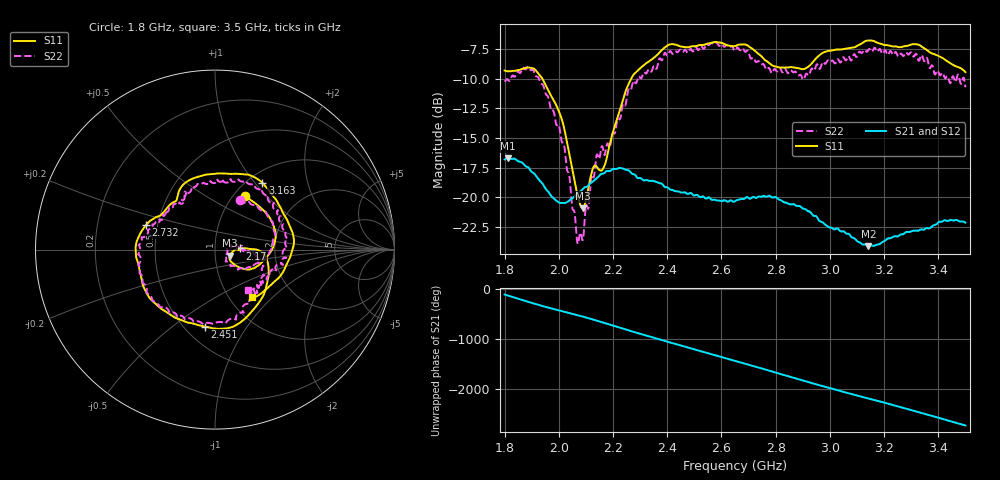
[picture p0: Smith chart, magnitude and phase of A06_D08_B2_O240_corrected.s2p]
! Created with skrf 1.9.0 (http://scikit-rf.org).
# Hz S RI R 50.0
!freq ReS11 ImS11 ReS21 ImS21 ReS12 ImS12 ReS22 ImS22
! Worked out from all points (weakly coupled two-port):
!   1601 points, 1.8 GHz to 3.5 GHz, reference 50 ohm
!   highest |S21| = -16.71 dB at 1.812 GHz (marker M1); lowest = -24.1 dB at 3.142 GHz (marker M2)
!   lowest |S11| = -20.9 dB at 2.088 GHz (marker M3), VSWR 1.20, Z = 58.9 - j3.94 ohm
!   |S11| at or under -10 dB: 1.939 GHz to 2.267 GHz (327.2 MHz wide, 15.6 % of centre)
!   |S22| runs from -24.0 to -6.9 dB; largest |S21 - S12| = 0.0029
!   S11 on the Smith chart (normalised r, x): 1.8 GHz: 1.12, +0.76; 2.17 GHz: 1.32, +0.02; 2.451 GHz: 0.62, -0.66; 2.732 GHz: 0.43, +0.14; 3.163 GHz: 1.16, +1.09; 3.5 GHz: 1.27, -0.76
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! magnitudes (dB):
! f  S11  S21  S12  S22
! 1.8 GHz  -9.3  -16.8  -16.8  -10.2
! 1.812 GHz  -9.4  -16.7  -16.7  -10.1
! 1.888 GHz  -9.0  -17.5  -17.6  -9.0
! 1.942 GHz  -10.1  -18.9  -18.9  -10.5
! 2.01 GHz  -13.4  -20.5  -20.5  -15.3
! 2.067 GHz  -19.6  -19.7  -19.7  -23.5
! 2.084 GHz  -20.9  -19.4  -19.4  -23.3
! 2.088 GHz  -20.9  -19.3  -19.4  -23.6
! 2.138 GHz  -17.4  -18.4  -18.4  -16.6
! 2.17 GHz  -17.3  -17.9  -18.0  -16.4
! 2.262 GHz  -10.2  -17.8  -17.8  -11.0
! 2.367 GHz  -7.9  -18.8  -18.7  -8.5
! 2.451 GHz  -7.3  -19.6  -19.6  -7.6
! 2.65 GHz  -7.2  -20.3  -20.3  -7.6
! 2.732 GHz  -7.8  -20.0  -20.0  -8.6
! 2.812 GHz  -9.0  -20.2  -20.1  -9.1
! 2.934 GHz  -8.7  -21.4  -21.4  -9.1
! 3.142 GHz  -6.8  -24.1  -24.0  -7.5
! 3.163 GHz  -6.8  -24.1  -24.1  -7.4
! 3.217 GHz  -7.2  -23.5  -23.5  -7.9
! 3.326 GHz  -7.1  -22.8  -22.8  -8.4
! 3.5 GHz  -9.4  -22.1  -22.1  -10.7
